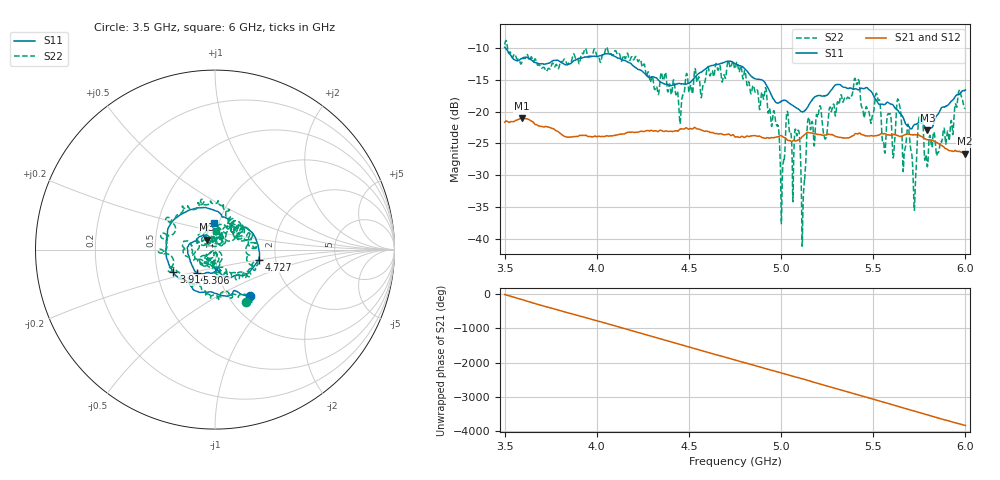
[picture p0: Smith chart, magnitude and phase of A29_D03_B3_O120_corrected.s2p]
! Created with skrf 1.9.0 (http://scikit-rf.org).
# Hz S RI R 50.0
!freq ReS11 ImS11 ReS21 ImS21 ReS12 ImS12 ReS22 ImS22
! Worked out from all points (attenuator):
!   1601 points, 3.5 GHz to 6 GHz, reference 50 ohm
!   highest |S21| = -21.07 dB at 3.592 GHz (marker M1); lowest = -26.6 dB at 5.997 GHz (marker M2)
!   lowest |S11| = -22.9 dB at 5.794 GHz (marker M3), VSWR 1.15, Z = 45.5 + j5.09 ohm
!   |S11| at or under -10 dB: 3.506 GHz to end of sweep
!   |S22| runs from -41.2 to -8.8 dB; largest |S21 - S12| = 0.00097
!   S11 on the Smith chart (normalised r, x): 3.5 GHz: 1.25, -0.72; 3.914 GHz: 0.61, -0.16; 4.727 GHz: 1.63, -0.19; 5.306 GHz: 0.79, -0.21; 6 GHz: 0.94, +0.29
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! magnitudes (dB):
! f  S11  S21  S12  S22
! 3.5 GHz  -9.8  -21.7  -21.6  -9.4
! 3.592 GHz  -11.6  -21.1  -21.1  -12.3
! 3.914 GHz  -11.6  -23.7  -23.7  -11.2
! 3.917 GHz  -11.6  -23.7  -23.7  -10.9
! 4.334 GHz  -15.0  -23.1  -23.0  -17.3
! 4.727 GHz  -12.0  -23.8  -23.6  -13.0
! 4.75 GHz  -12.4  -24.0  -23.9  -13.2
! 4.912 GHz  -15.4  -24.2  -24.1  -16.6
! 5.006 GHz  -18.3  -23.9  -23.8  -30.9
! 5.034 GHz  -18.4  -24.5  -24.4  -19.9
! 5.088 GHz  -19.5  -24.5  -24.5  -23.5
! 5.12 GHz  -20.0  -23.8  -23.7  -33.8
! 5.167 GHz  -18.2  -23.4  -23.3  -21.6
! 5.306 GHz  -15.7  -24.0  -23.9  -18.4
! 5.584 GHz  -18.6  -23.7  -23.6  -20.3
! 5.611 GHz  -19.1  -23.6  -23.5  -26.8
! 5.639 GHz  -20.0  -23.9  -23.8  -18.5
! 5.722 GHz  -22.0  -23.6  -23.6  -35.1
! 5.755 GHz  -21.7  -23.8  -23.8  -21.3
! 5.794 GHz  -22.9  -24.4  -24.4  -28.7
! 5.997 GHz  -16.7  -26.6  -26.5  -19.5
! 6 GHz  -16.6  -26.6  -26.5  -19.5
